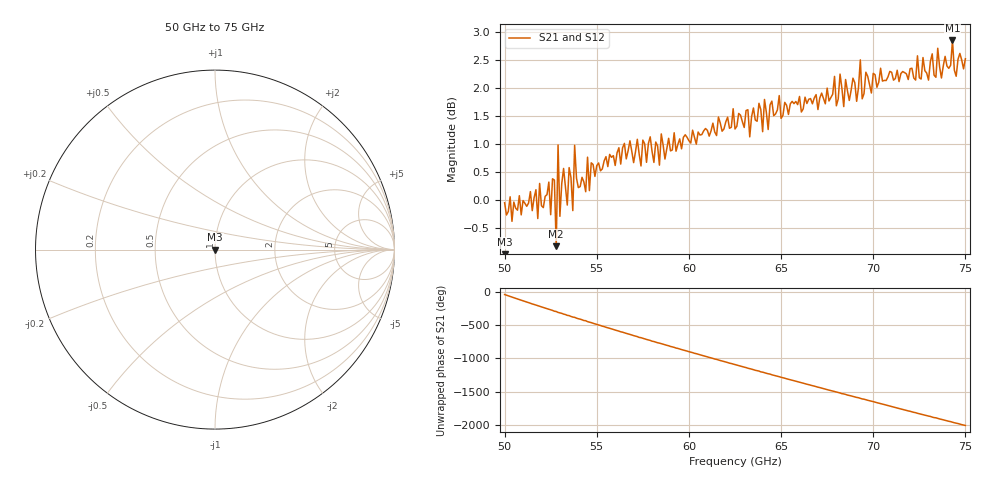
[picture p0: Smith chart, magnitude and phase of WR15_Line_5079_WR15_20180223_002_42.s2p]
# GHZ S RI R 50
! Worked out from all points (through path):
!   251 points, 50 GHz to 75 GHz, reference 50 ohm
!   highest |S21| = 2.85 dB at 74.3 GHz (marker M1); lowest = -0.8 dB at 52.8 GHz (marker M2)
!   lowest |S11| = - dB at 50 GHz (marker M3), VSWR 1.00, Z = 50 - j2.42e-15 ohm
!   |S11| at or under -10 dB: start of sweep to end of sweep
!   |S22| runs from - to - dB; largest |S21 - S12| = 1e-14
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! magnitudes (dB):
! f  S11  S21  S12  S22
! 50 GHz  -  0.0  0.0  -
! 51.8 GHz  -  -0.3  -0.3  -
! 52.4 GHz  -  0.3  0.3  -
! 52.5 GHz  -  -0.3  -0.3  -
! 52.7 GHz  -  0.4  0.4  -
! 52.8 GHz  -  -0.8  -0.8  -
! 52.9 GHz  -  1.0  1.0  -
! 53 GHz  -  -0.3  -0.3  -
! 53.2 GHz  -  0.6  0.6  -
! 53.7 GHz  -  -0.2  -0.2  -
! 53.8 GHz  -  1.0  1.0  -
! 54.2 GHz  -  0.4  0.4  -
! 57.9 GHz  -  1.1  1.1  -
! 58.4 GHz  -  0.6  0.6  -
! 58.5 GHz  -  1.2  1.2  -
! 62.5 GHz  -  1.3  1.3  -
! 66.7 GHz  -  1.7  1.7  -
! 70.9 GHz  -  2.3  2.3  -
! 73.7 GHz  -  2.2  2.2  -
! 74.3 GHz  -  2.9  2.9  -
! 74.5 GHz  -  2.2  2.2  -
! 75 GHz  -  2.5  2.5  -
